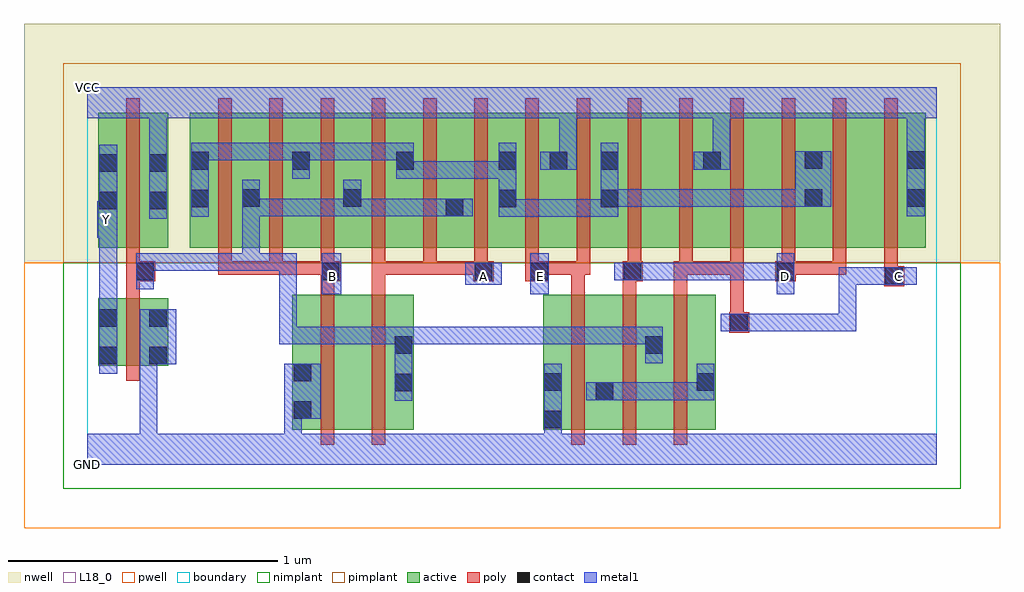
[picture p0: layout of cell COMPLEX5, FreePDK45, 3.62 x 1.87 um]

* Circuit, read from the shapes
.subckt COMPLEX5 A B C D E GND VCC Y
M1 GND n1 Y VSUBS nfet w=0.25u l=0.05u
M2 n2 B GND VSUBS nfet w=0.5u l=0.05u
M3 n1 A n2 VSUBS nfet w=0.5u l=0.05u
M4 n3 E GND VSUBS nfet w=0.5u l=0.05u
M5 n1 D n3 VSUBS nfet w=0.5u l=0.05u
M6 n3 C n1 VSUBS nfet w=0.5u l=0.05u
M7 VCC n1 Y n4 pfet w=0.5u l=0.05u
M8 n1 B n5 n4 pfet w=0.5u l=0.05u m=3
M9 n5 A n1 n4 pfet w=0.5u l=0.05u m=3
M10 VCC E n5 n4 pfet w=0.5u l=0.05u m=2
M11 n6 D n5 n4 pfet w=0.5u l=0.05u
M12 VCC C n6 n4 pfet w=0.5u l=0.05u
M13 n7 C VCC n4 pfet w=0.5u l=0.05u
M14 n5 D n7 n4 pfet w=0.5u l=0.05u
M15 n8 D n5 n4 pfet w=0.5u l=0.05u
M16 VCC C n8 n4 pfet w=0.5u l=0.05u
.ends

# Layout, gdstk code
import gdstk
lib = gdstk.Library(unit=1e-6, precision=1e-09)
def R(c, l, rs):  # rectangles x0, y0, x1, y1
    for r in rs: c.add(gdstk.rectangle(r[:2], r[2:], *l))
def A(c, l, x, y, w, h, nx, ny, dx, dy):  # array of equal rectangles
    R(c, l, [(x+i*dx, y+j*dy, x+i*dx+w, y+j*dy+h) for i in range(nx) for j in range(ny)])
active = (1, 0)
pwell = (2, 0)
nwell = (3, 0)
nimplant = (4, 0)
pimplant = (5, 0)
poly = (9, 0)
contact = (10, 0)
metal1 = (11, 0)
L18_0 = (18, 0)
boundary = (235, 0)

complex5 = lib.new_cell('COMPLEX5')
A(complex5, active, 1.14, 0.805, 0.075, 0.395, 3, 1, 0.38, 0)
R(complex5, active, [(0.76,0.13,0.985,0.63), (0.76,0.13,0.835,0.592), (0.985,0.13,1.21,0.63), (1.69,0.13,1.955,0.63), (1.69,0.13,1.765,0.63), (1.88,0.13,2.14,0.63), (2.065,0.13,2.33,0.63), (1.135,0.195,1.21,0.63), (1.88,0.195,1.955,0.592), (2.065,0.195,2.14,0.592), (2.255,0.195,2.33,0.63), (0.04,0.367,0.115,0.617), (0.04,0.367,0.3,0.617), (0.225,0.367,0.3,0.617), (0.04,0.805,0.3,1.305), (0.04,0.805,0.115,1.2), (0.225,0.805,0.3,1.305), (0.38,0.805,0.645,1.305), (0.38,0.805,0.455,1.2), (0.57,0.805,0.83,1.305), (0.57,0.805,0.645,1.07), (0.755,0.805,1.02,1.305), (0.945,0.805,1.215,1.305), (0.945,0.805,1.02,1.07), (1.14,0.805,1.4,1.305), (1.325,0.805,1.595,1.305), (1.325,0.805,1.4,1.07), (1.52,0.805,1.785,1.305), (1.71,0.805,1.975,1.305), (1.71,0.805,1.785,1.305), (1.9,0.805,2.125,1.305), (2.125,0.805,2.355,1.305), (2.28,0.805,2.355,1.305), (2.28,0.805,2.505,1.305), (2.505,0.805,2.73,1.305), (2.655,0.805,2.885,1.305), (2.655,0.805,2.73,1.2), (2.885,0.805,3.11,1.305), (3.035,0.805,3.11,1.305), (0.755,0.807,0.83,1.2)])
R(complex5, pwell, [(-0.235,-0.235,3.385,0.75)])
R(complex5, nwell, [(-0.235,0.75,3.385,1.635)])
R(complex5, nimplant, [(-0.09,-0.09,3.24,0.75)])
R(complex5, pimplant, [(-0.09,0.75,3.24,1.49)])
A(complex5, poly, 1.795, 0.075, 0.05, 0.61, 3, 1, 0.19, 0)
A(complex5, poly, 0.485, 0.705, 0.05, 0.095, 13, 1, 0.19, 0)
A(complex5, poly, 0.485, 0.705, 0.05, 0.05, 3, 1, 0.19, 0)
A(complex5, poly, 0.485, 0.75, 0.05, 0.61, 14, 1, 0.19, 0)
R(complex5, poly, [(0.865,0.075,0.915,0.685), (1.055,0.075,1.105,0.685), (0.145,0.312,0.195,0.672), (2.38,0.49,2.455,0.565), (2.385,0.515,2.435,0.755), (0.145,0.622,0.195,0.73), (0.865,0.635,0.915,0.73), (1.055,0.635,1.105,0.755), (1.795,0.635,1.845,0.755), (1.985,0.635,2.035,0.73), (2.175,0.635,2.225,0.755), (2.955,0.662,3.03,0.737), (0.145,0.68,0.252,0.755), (0.865,0.68,0.94,0.755), (1.432,0.68,1.507,0.755), (1.625,0.68,1.712,0.755), (1.985,0.68,2.06,0.755), (2.552,0.68,2.627,0.755), (2.955,0.687,3.005,0.8), (0.145,0.705,0.195,0.8), (0.485,0.705,0.535,0.755), (0.485,0.705,0.535,0.755), (0.485,0.705,0.725,0.755), (0.675,0.705,0.915,0.755), (0.865,0.705,0.915,0.755), (1.055,0.705,1.105,0.755), (1.055,0.705,1.105,0.755), (1.055,0.705,1.105,0.755), (1.055,0.705,1.295,0.755), (1.245,0.705,1.295,0.755), (1.245,0.705,1.482,0.755), (1.432,0.705,1.482,0.755), (1.432,0.705,1.482,0.755), (1.662,0.705,1.845,0.755), (1.795,0.705,1.845,0.755), (1.795,0.705,1.845,0.755), (1.795,0.705,1.865,0.755), (2.175,0.705,2.245,0.755), (2.195,0.705,2.245,0.755), (2.195,0.705,2.245,0.755), (2.195,0.705,2.435,0.755), (2.385,0.705,2.435,0.755), (2.385,0.705,2.435,0.755), (2.385,0.705,2.435,0.755), (2.577,0.705,2.815,0.755), (2.577,0.705,2.627,0.755), (2.577,0.705,2.627,0.755), (2.765,0.705,2.815,0.755), (0.145,0.75,0.195,1.36)])
A(complex5, contact, 1.525, 1.095, 0.065, 0.065, 3, 1, 0.19, 0)
R(complex5, contact, [(1.695,0.135,1.76,0.2), (0.765,0.17,0.83,0.235), (1.885,0.24,1.95,0.305), (1.14,0.272,1.205,0.337), (1.695,0.275,1.76,0.34), (2.26,0.275,2.325,0.34), (0.765,0.31,0.83,0.375), (0.045,0.372,0.11,0.437), (0.23,0.372,0.295,0.437), (1.14,0.412,1.205,0.477), (2.07,0.412,2.135,0.477), (2.385,0.495,2.45,0.56), (0.045,0.512,0.11,0.577), (0.23,0.512,0.295,0.577), (2.96,0.667,3.025,0.732), (0.182,0.685,0.247,0.75), (0.87,0.685,0.935,0.75), (1.437,0.685,1.502,0.75), (1.642,0.685,1.707,0.75), (1.99,0.685,2.055,0.75), (2.557,0.685,2.622,0.75), (1.33,0.922,1.395,0.987), (0.045,0.947,0.11,1.012), (0.23,0.947,0.295,1.012), (0.385,0.955,0.45,1.02), (1.525,0.955,1.59,1.02), (1.905,0.955,1.97,1.02), (0.575,0.957,0.64,1.022), (0.95,0.957,1.015,1.022), (2.66,0.957,2.725,1.022), (3.04,0.957,3.105,1.022), (0.045,1.087,0.11,1.152), (0.23,1.087,0.295,1.152), (0.385,1.095,0.45,1.16), (0.76,1.095,0.825,1.16), (1.145,1.095,1.21,1.16), (2.285,1.095,2.35,1.16), (2.66,1.097,2.725,1.162), (3.04,1.097,3.105,1.162)])
R(complex5, metal1, [(0,0,3.15,0.115), (0.195,0.05,0.26,0.115), (0.195,0.05,0.26,0.115), (0.195,0.05,0.26,0.115), (0.195,0.05,0.26,0.115), (0.195,0.05,0.26,0.437), (0.73,0.05,0.795,0.115), (0.73,0.05,0.795,0.115), (0.73,0.05,0.795,0.235), (1.695,0.05,1.76,0.165), (1.695,0.1,1.76,0.375), (1.695,0.1,1.76,0.165), (1.695,0.1,1.76,0.165), (0.73,0.17,0.865,0.375), (1.14,0.237,1.205,0.512), (1.85,0.24,1.985,0.305), (1.92,0.24,1.985,0.305), (1.92,0.24,1.985,0.305), (1.92,0.24,2.122,0.305), (2.057,0.24,2.122,0.305), (2.057,0.24,2.227,0.305), (2.162,0.24,2.227,0.305), (2.162,0.24,2.325,0.305), (2.26,0.24,2.325,0.375), (0.045,0.337,0.11,0.612), (0.195,0.372,0.26,0.437), (0.195,0.372,0.26,0.437), (0.195,0.372,0.33,0.577), (2.07,0.377,2.135,0.512), (0.712,0.447,0.777,0.512), (0.712,0.447,0.777,0.512), (0.712,0.447,0.777,0.512), (0.712,0.447,0.995,0.512), (0.712,0.447,0.777,0.785), (0.93,0.447,0.995,0.512), (0.93,0.447,0.995,0.512), (0.93,0.447,0.995,0.512), (0.93,0.447,1.205,0.512), (1.14,0.447,1.205,0.512), (1.14,0.447,1.205,0.512), (1.14,0.447,1.43,0.512), (1.365,0.447,1.43,0.512), (1.365,0.447,1.43,0.512), (1.365,0.447,1.43,0.512), (1.365,0.447,1.567,0.512), (1.502,0.447,1.567,0.512), (1.502,0.447,1.567,0.512), (1.502,0.447,1.567,0.512), (1.502,0.447,1.777,0.512), (1.712,0.447,1.915,0.512), (1.712,0.447,1.777,0.512), (1.712,0.447,1.777,0.512), (1.712,0.447,1.777,0.512), (1.85,0.447,1.915,0.512), (1.85,0.447,1.915,0.512), (1.85,0.447,1.915,0.512), (1.85,0.447,2.135,0.512), (2.35,0.495,2.485,0.56), (2.42,0.495,2.485,0.56), (2.42,0.495,2.485,0.56), (2.42,0.495,2.485,0.56), (2.42,0.495,2.485,0.56), (2.42,0.495,2.622,0.56), (2.557,0.495,2.622,0.56), (2.557,0.495,2.622,0.56), (2.557,0.495,2.622,0.56), (2.557,0.495,2.852,0.56), (2.787,0.495,2.852,0.732), (2.787,0.495,2.852,0.56), (2.787,0.495,2.852,0.56), (2.787,0.495,2.852,0.56), (0.045,0.547,0.11,0.907), (0.87,0.632,0.942,0.785), (1.642,0.632,1.712,0.785), (2.557,0.632,2.622,0.785), (0.182,0.65,0.247,0.785), (1.402,0.667,1.537,0.75), (2.787,0.667,2.99,0.732), (2.787,0.667,2.852,0.732), (2.925,0.667,3.077,0.732), (1.955,0.685,2.09,0.75), (2.025,0.685,2.122,0.75), (2.057,0.685,2.122,0.75), (2.057,0.685,2.227,0.75), (2.162,0.685,2.227,0.75), (2.162,0.685,2.347,0.75), (2.282,0.685,2.485,0.75), (2.282,0.685,2.347,0.75), (2.42,0.685,2.485,0.75), (2.42,0.685,2.485,0.75), (2.42,0.685,2.485,0.75), (2.42,0.685,2.622,0.75), (0.182,0.72,0.247,0.785), (0.182,0.72,0.247,0.785), (0.182,0.72,0.432,0.785), (0.367,0.72,0.432,0.785), (0.367,0.72,0.432,0.785), (0.367,0.72,0.432,0.785), (0.367,0.72,0.64,0.785), (0.575,0.72,0.64,0.785), (0.575,0.72,0.64,0.785), (0.575,0.72,0.64,0.785), (0.575,0.72,0.777,0.785), (0.575,0.72,0.64,0.987), (0.712,0.72,0.777,0.785), (0.037,0.842,0.11,0.977), (0.045,0.912,0.11,1.187), (0.045,0.912,0.11,0.977), (0.23,0.912,0.295,1.187), (0.385,0.92,0.45,1.195), (1.525,0.92,1.59,1.195), (1.525,0.92,1.59,0.985), (1.525,0.92,1.59,0.985), (1.525,0.92,1.59,0.985), (1.525,0.92,1.59,0.985), (1.525,0.92,1.777,0.985), (1.712,0.92,1.777,0.985), (1.712,0.92,1.777,0.985), (1.712,0.92,1.777,0.985), (1.712,0.92,1.97,0.985), (1.905,0.92,1.97,1.195), (0.575,0.922,0.64,0.987), (0.575,0.922,0.64,0.987), (0.575,0.922,0.777,0.987), (0.575,0.922,0.64,1.057), (0.712,0.922,0.777,0.987), (0.712,0.922,0.777,0.987), (0.712,0.922,0.777,0.987), (0.712,0.922,1.015,0.987), (0.95,0.922,1.015,0.987), (0.95,0.922,1.015,0.987), (0.95,0.922,1.015,1.057), (0.95,0.922,1.222,0.987), (1.157,0.922,1.36,0.987), (1.157,0.922,1.222,0.987), (1.157,0.922,1.222,0.987), (1.157,0.922,1.222,0.987), (1.295,0.922,1.43,0.987), (3.04,0.922,3.105,1.197), (1.905,0.957,1.97,1.022), (1.905,0.957,1.97,1.022), (1.905,0.957,2.122,1.022), (2.057,0.957,2.26,1.022), (2.057,0.957,2.122,1.022), (2.195,0.957,2.26,1.022), (2.195,0.957,2.26,1.022), (2.195,0.957,2.26,1.022), (2.195,0.957,2.485,1.022), (2.42,0.957,2.485,1.022), (2.42,0.957,2.485,1.022), (2.42,0.957,2.485,1.022), (2.42,0.957,2.69,1.022), (2.625,0.957,2.69,1.022), (2.625,0.957,2.69,1.022), (2.625,0.957,2.76,1.162), (0.76,1.06,0.825,1.195), (1.145,1.06,1.21,1.125), (1.145,1.06,1.21,1.125), (1.145,1.06,1.21,1.195), (1.145,1.06,1.43,1.125), (1.365,1.06,1.43,1.125), (1.365,1.06,1.43,1.125), (1.365,1.06,1.43,1.125), (1.365,1.06,1.59,1.125), (1.68,1.095,1.815,1.16), (1.75,1.095,1.815,1.35), (2.25,1.095,2.385,1.16), (2.32,1.095,2.385,1.35), (0.23,1.122,0.295,1.35), (0.385,1.13,0.45,1.195), (0.385,1.13,0.45,1.195), (0.385,1.13,0.587,1.195), (0.522,1.13,0.587,1.195), (0.522,1.13,0.587,1.195), (0.522,1.13,0.587,1.195), (0.522,1.13,0.825,1.195), (0.76,1.13,0.825,1.195), (0.76,1.13,0.825,1.195), (0.76,1.13,0.962,1.195), (0.897,1.13,0.962,1.195), (0.897,1.13,0.962,1.195), (0.897,1.13,0.962,1.195), (0.897,1.13,1.21,1.195), (3.04,1.132,3.105,1.35), (0,1.285,3.15,1.4)])
R(complex5, L18_0, [(0,0,3.15,0.115), (0.195,0.05,0.26,0.115), (0.195,0.05,0.26,0.115), (0.195,0.05,0.26,0.115), (0.195,0.05,0.26,0.115), (0.195,0.05,0.26,0.437), (0.73,0.05,0.795,0.115), (0.73,0.05,0.795,0.115), (0.73,0.05,0.795,0.235), (1.695,0.05,1.76,0.165), (1.695,0.1,1.76,0.375), (1.695,0.1,1.76,0.165), (1.695,0.1,1.76,0.165), (0.73,0.17,0.865,0.375), (0.045,0.337,0.11,0.612), (0.195,0.372,0.26,0.437), (0.195,0.372,0.26,0.437), (0.195,0.372,0.33,0.577), (2.35,0.495,2.485,0.56), (2.42,0.495,2.485,0.56), (2.42,0.495,2.485,0.56), (2.42,0.495,2.485,0.56), (2.42,0.495,2.485,0.56), (2.42,0.495,2.622,0.56), (2.557,0.495,2.622,0.56), (2.557,0.495,2.622,0.56), (2.557,0.495,2.622,0.56), (2.557,0.495,2.852,0.56), (2.787,0.495,2.852,0.56), (2.787,0.495,2.852,0.56), (2.787,0.495,2.852,0.56), (2.787,0.495,2.852,0.732), (0.045,0.547,0.11,0.907), (0.87,0.632,0.942,0.785), (1.642,0.632,1.712,0.785), (2.557,0.632,2.622,0.785), (0.877,0.667,0.942,0.732), (1.402,0.667,1.537,0.75), (1.437,0.667,1.502,0.732), (1.647,0.667,1.712,0.732), (2.557,0.667,2.622,0.732), (2.787,0.667,2.852,0.732), (2.787,0.667,2.99,0.732), (2.925,0.667,3.077,0.732), (2.977,0.667,3.042,0.732), (1.955,0.685,2.09,0.75), (2.025,0.685,2.122,0.75), (2.057,0.685,2.122,0.75), (2.057,0.685,2.227,0.75), (2.162,0.685,2.227,0.75), (2.162,0.685,2.347,0.75), (2.282,0.685,2.347,0.75), (2.282,0.685,2.485,0.75), (2.42,0.685,2.485,0.75), (2.42,0.685,2.485,0.75), (2.42,0.685,2.485,0.75), (2.42,0.685,2.622,0.75), (0.037,0.842,0.11,0.977), (0.037,0.877,0.102,0.942), (0.045,0.912,0.11,1.187), (0.045,0.912,0.11,0.977), (0.23,0.912,0.295,1.187), (3.04,0.922,3.105,1.197), (1.68,1.095,1.815,1.16), (1.75,1.095,1.815,1.35), (2.25,1.095,2.385,1.16), (2.32,1.095,2.385,1.35), (0.23,1.122,0.295,1.35), (3.04,1.132,3.105,1.35), (0,1.285,3.15,1.4)])
R(complex5, boundary, [(0,0,3.15,1.4)])
complex5.add(gdstk.Label('A', (1.47,0.7), layer=11, texttype=0))
complex5.add(gdstk.Label('B', (0.91,0.7), layer=11, texttype=0))
complex5.add(gdstk.Label('C', (3.01,0.7), layer=11, texttype=0))
complex5.add(gdstk.Label('D', (2.59,0.7), layer=11, texttype=0))
complex5.add(gdstk.Label('E', (1.68,0.7), layer=11, texttype=0))
complex5.add(gdstk.Label('Y', (0.07,0.91), layer=11, texttype=0))
complex5.add(gdstk.Label('VCC', (0,1.4), layer=11, texttype=0))
complex5.add(gdstk.Label('GND', (0,0), layer=11, texttype=0))

lib.write_gds('COMPLEX5.gds')
